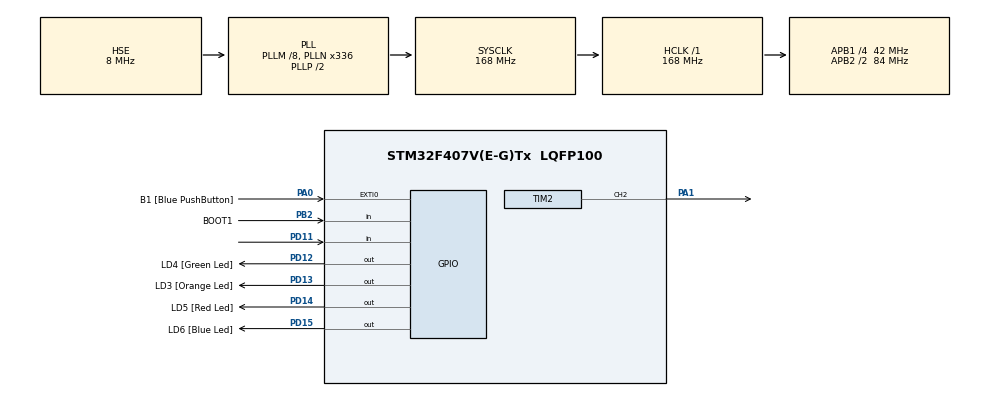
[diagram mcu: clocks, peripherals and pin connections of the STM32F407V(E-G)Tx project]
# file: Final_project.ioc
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Mcu.Family=STM32F4
Mcu.Name=STM32F407V(E-G)Tx
Mcu.Package=LQFP100
NVIC.PriorityGroup=NVIC_PRIORITYGROUP_0
PA0-WKUP.GPIO_Label=B1 [Blue PushButton]
PA0-WKUP.GPIO_ModeDefaultEXTI=GPIO_MODE_EVT_RISING
PA0-WKUP.GPIO_PuPd=GPIO_NOPULL
PA0-WKUP.Signal=GPXTI0
PA1.Signal=S_TIM2_CH2
PB2.GPIO_Label=BOOT1
PB2.GPIO_Mode=GPIO_MODE_INPUT
PB2.GPIO_PuPd=GPIO_NOPULL
PB2.Signal=GPIO_Input
PC14-OSC32_IN.GPIO_Label=PC14-OSC32_IN
PC14-OSC32_IN.Mode=LSE-External-Oscillator
PC14-OSC32_IN.Signal=RCC_OSC32_IN
PC15-OSC32_OUT.GPIO_Label=PC15-OSC32_OUT
PC15-OSC32_OUT.Mode=LSE-External-Oscillator
PC15-OSC32_OUT.Signal=RCC_OSC32_OUT
PD11.Signal=GPIO_Input
PD12.GPIO_Label=LD4 [Green Led]
PD12.GPIO_PuPd=GPIO_NOPULL
PD12.GPIO_Speed=GPIO_SPEED_FREQ_LOW
PD12.Signal=GPIO_Output
PD13.GPIO_Label=LD3 [Orange Led]
PD13.GPIO_PuPd=GPIO_NOPULL
PD13.GPIO_Speed=GPIO_SPEED_FREQ_LOW
PD13.Signal=GPIO_Output
PD14.GPIO_Label=LD5 [Red Led]
PD14.GPIO_PuPd=GPIO_NOPULL
PD14.GPIO_Speed=GPIO_SPEED_FREQ_LOW
PD14.Signal=GPIO_Output
PD15.GPIO_Label=LD6 [Blue Led]
PD15.GPIO_PuPd=GPIO_NOPULL
PD15.GPIO_Speed=GPIO_SPEED_FREQ_LOW
PD15.Signal=GPIO_Output
PH0-OSC_IN.GPIO_Label=PH0-OSC_IN
PH0-OSC_IN.Mode=HSE-External-Oscillator
PH0-OSC_IN.Signal=RCC_OSC_IN
PH1-OSC_OUT.GPIO_Label=PH1-OSC_OUT
PH1-OSC_OUT.Mode=HSE-External-Oscillator
PH1-OSC_OUT.Signal=RCC_OSC_OUT
ProjectManager.HeapSize=0x200
ProjectManager.StackSize=0x400
ProjectManager.TargetToolchain=STM32CubeIDE
RCC.48MHZClocksFreq_Value=48000000
RCC.AHBFreq_Value=168000000
RCC.APB1CLKDivider=RCC_HCLK_DIV4
RCC.APB1Freq_Value=42000000
RCC.APB1TimFreq_Value=84000000
RCC.APB2CLKDivider=RCC_HCLK_DIV2
RCC.APB2Freq_Value=84000000
RCC.APB2TimFreq_Value=168000000
RCC.CortexFreq_Value=168000000
RCC.HCLKFreq_Value=168000000
RCC.HSE_VALUE=8000000
RCC.HSI_VALUE=16000000
RCC.PLLM=8
RCC.PLLN=336
RCC.PLLQ=7
RCC.PLLSourceVirtual=RCC_PLLSOURCE_HSE
RCC.SYSCLKFreq_VALUE=168000000
RCC.SYSCLKSource=RCC_SYSCLKSOURCE_PLLCLK
RCC.VCOOutputFreq_Value=336000000
SH.S_TIM2_CH2.0=TIM2_CH2,PWM Generation2 CH2
TIM2.Channel-PWM\ Generation2\ CH2=TIM_CHANNEL_2
TIM2.Period=999
TIM2.Prescaler=71
TIM2.Pulse-PWM\ Generation2\ CH2=499
VP_TIM2_VS_ClockSourceINT.Mode=Internal
board=STM32F407G-DISC1

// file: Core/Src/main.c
/* USER CODE BEGIN Header */
/**
  ******************************************************************************
  * @file           : main.c
  * @brief          : Main program body
  ******************************************************************************
  * @attention
  *
  * Copyright (c) 2023 STMicroelectronics.
  * All rights reserved.
  *
  * This software is licensed under terms that can be found in the LICENSE file
  * in the root directory of this software component.
  * If no LICENSE file comes with this software, it is provided AS-IS.
  *
  ******************************************************************************
  */
/* USER CODE END Header */
#include "main.h"
#include "stm32f4xx_hal.h"

/* USER CODE BEGIN Includes */
#define DHT11_GPIO_PORT GPIOA
#define DHT11_GPIO_PIN GPIO_PIN_0

#define T1 15.0
#define T2 20.0
#define T3 25.0

#define PWM_PERIOD 999

#define DUTY_CYCLE_1 PWM_PERIOD*0.2 	// 20%
#define DUTY_CYCLE_2 PWM_PERIOD*0.4  	// 40%
#define DUTY_CYCLE_3 PWM_PERIOD*0.6 	// 60%
#define DUTY_CYCLE_4 PWM_PERIOD*0.8  	// 80%

/* USER CODE END Includes */

TIM_HandleTypeDef htim2;

void SystemClock_Config(void);
static void MX_GPIO_Init(void);
static void MX_TIM2_Init(void);

int main(void)
{

  /* MCU Configuration--------------------------------------------------------*/

  /* Reset of all peripherals, Initializes the Flash interface and the Systick. */
  HAL_Init();

  /* Configure the system clock */
  SystemClock_Config();

  /* Initialize all configured peripherals */
  MX_GPIO_Init();
  MX_TIM2_Init();
  /* USER CODE BEGIN 2 */
  HAL_TIM_PWM_Start(&htim2, TIM_CHANNEL_2);

  float* temperature, humidity;
  int dutyCycle;
  /* USER CODE END 2 */

  /* Infinite loop */
  /* USER CODE BEGIN WHILE */
  while (1)
  {
	  DHT11_ReadData(&humidity, &temperature);
	  //////implementation 1:///////

	  //dutyCycle = (temperature-15)*100/15;
	  //__HAL_TIM_SET_COMPARE(&htim2, TIM_CHANNEL_1, dutyCycle);

	  //////implementation 2: (easier to debug)///////

	  if(temperature < T1){ //less than 15
		  dutyCycle = 1;
	  	  __HAL_TIM_SET_COMPARE(&htim2, TIM_CHANNEL_1, DUTY_CYCLE_1);
	  }

	  if((temperature > T1) && (temperature < T2)) //between 15 and 20
	  {
		  dutyCycle = 3;
	  	  __HAL_TIM_SET_COMPARE(&htim2, TIM_CHANNEL_1, DUTY_CYCLE_2);
	  }

	  if((temperature > T2) && (temperature < T3)) //between 20 and 25
	  {
		  dutyCycle = 3;
	  	  __HAL_TIM_SET_COMPARE(&htim2, TIM_CHANNEL_1, DUTY_CYCLE_3);
	  }
	  if(temperature > T3) //greater than 25
	  {
		  dutyCycle = 4;
	  	  __HAL_TIM_SET_COMPARE(&htim2, TIM_CHANNEL_1, DUTY_CYCLE_4);
	  }

  }
}

void SystemClock_Config(void)
{
  RCC_OscInitTypeDef RCC_OscInitStruct = {0};
  RCC_ClkInitTypeDef RCC_ClkInitStruct = {0};

  /** Configure the main internal regulator output voltage
  */
  __HAL_RCC_PWR_CLK_ENABLE();
  __HAL_PWR_VOLTAGESCALING_CONFIG(PWR_REGULATOR_VOLTAGE_SCALE1);

  /** Initializes the RCC Oscillators according to the specified parameters
  * in the RCC_OscInitTypeDef structure.
  */
  RCC_OscInitStruct.OscillatorType = RCC_OSCILLATORTYPE_HSE;
  RCC_OscInitStruct.HSEState = RCC_HSE_ON;
  RCC_OscInitStruct.PLL.PLLState = RCC_PLL_ON;
  RCC_OscInitStruct.PLL.PLLSource = RCC_PLLSOURCE_HSE;
  RCC_OscInitStruct.PLL.PLLM = 8;
  RCC_OscInitStruct.PLL.PLLN = 336;
  RCC_OscInitStruct.PLL.PLLP = RCC_PLLP_DIV2;
  RCC_OscInitStruct.PLL.PLLQ = 7;
  if (HAL_RCC_OscConfig(&RCC_OscInitStruct) != HAL_OK)
  {
    Error_Handler();
  }

  /** Initializes the CPU, AHB and APB buses clocks
  */
  RCC_ClkInitStruct.ClockType = RCC_CLOCKTYPE_HCLK|RCC_CLOCKTYPE_SYSCLK
                              |RCC_CLOCKTYPE_PCLK1|RCC_CLOCKTYPE_PCLK2;
  RCC_ClkInitStruct.SYSCLKSource = RCC_SYSCLKSOURCE_PLLCLK;
  RCC_ClkInitStruct.AHBCLKDivider = RCC_SYSCLK_DIV1;
  RCC_ClkInitStruct.APB1CLKDivider = RCC_HCLK_DIV4;
  RCC_ClkInitStruct.APB2CLKDivider = RCC_HCLK_DIV2;

  if (HAL_RCC_ClockConfig(&RCC_ClkInitStruct, FLASH_LATENCY_5) != HAL_OK)
  {
    Error_Handler();
  }
}

static void MX_TIM2_Init(void)
{

  TIM_ClockConfigTypeDef sClockSourceConfig = {0};
  TIM_MasterConfigTypeDef sMasterConfig = {0};
  TIM_OC_InitTypeDef sConfigOC = {0};

  htim2.Instance = TIM2;
  htim2.Init.Prescaler = 71;
  htim2.Init.CounterMode = TIM_COUNTERMODE_UP;
  htim2.Init.Period = 999;
  htim2.Init.ClockDivision = TIM_CLOCKDIVISION_DIV1;
  htim2.Init.AutoReloadPreload = TIM_AUTORELOAD_PRELOAD_DISABLE;
  if (HAL_TIM_Base_Init(&htim2) != HAL_OK)
  {
    Error_Handler();
  }
  sClockSourceConfig.ClockSource = TIM_CLOCKSOURCE_INTERNAL;
  if (HAL_TIM_ConfigClockSource(&htim2, &sClockSourceConfig) != HAL_OK)
  {
    Error_Handler();
  }
  if (HAL_TIM_PWM_Init(&htim2) != HAL_OK)
  {
    Error_Handler();
  }
  sMasterConfig.MasterOutputTrigger = TIM_TRGO_RESET;
  sMasterConfig.MasterSlaveMode = TIM_MASTERSLAVEMODE_DISABLE;
  if (HAL_TIMEx_MasterConfigSynchronization(&htim2, &sMasterConfig) != HAL_OK)
  {
    Error_Handler();
  }
  sConfigOC.OCMode = TIM_OCMODE_PWM1;
  sConfigOC.Pulse = 499;
  sConfigOC.OCPolarity = TIM_OCPOLARITY_HIGH;
  sConfigOC.OCFastMode = TIM_OCFAST_DISABLE;
  if (HAL_TIM_PWM_ConfigChannel(&htim2, &sConfigOC, TIM_CHANNEL_2) != HAL_OK)
  {
    Error_Handler();
  }
  HAL_TIM_MspPostInit(&htim2);

}

static void MX_GPIO_Init(void)
{
  GPIO_InitTypeDef GPIO_InitStruct = {0};

  /* GPIO Ports Clock Enable */
  __HAL_RCC_GPIOC_CLK_ENABLE();
  __HAL_RCC_GPIOH_CLK_ENABLE();
  __HAL_RCC_GPIOA_CLK_ENABLE();
  __HAL_RCC_GPIOB_CLK_ENABLE();
  __HAL_RCC_GPIOD_CLK_ENABLE();

  /*Configure GPIO pin Output Level */
  HAL_GPIO_WritePin(GPIOD, LD4_Pin|LD3_Pin|LD5_Pin|LD6_Pin, GPIO_PIN_RESET);

  /*Configure GPIO pin : B1_Pin */
  GPIO_InitStruct.Pin = B1_Pin;
  GPIO_InitStruct.Mode = GPIO_MODE_EVT_RISING;
  GPIO_InitStruct.Pull = GPIO_NOPULL;
  HAL_GPIO_Init(B1_GPIO_Port, &GPIO_InitStruct);

  /*Configure GPIO pin : BOOT1_Pin */
  GPIO_InitStruct.Pin = BOOT1_Pin;
  GPIO_InitStruct.Mode = GPIO_MODE_INPUT;
  GPIO_InitStruct.Pull = GPIO_NOPULL;
  HAL_GPIO_Init(BOOT1_GPIO_Port, &GPIO_InitStruct);

  /*Configure GPIO pin : PD11 */
  GPIO_InitStruct.Pin = GPIO_PIN_11;
  GPIO_InitStruct.Mode = GPIO_MODE_INPUT;
  GPIO_InitStruct.Pull = GPIO_NOPULL;
  HAL_GPIO_Init(GPIOD, &GPIO_InitStruct);

  /*Configure GPIO pins : LD4_Pin LD3_Pin LD5_Pin LD6_Pin */
  GPIO_InitStruct.Pin = LD4_Pin|LD3_Pin|LD5_Pin|LD6_Pin;
  GPIO_InitStruct.Mode = GPIO_MODE_OUTPUT_PP;
  GPIO_InitStruct.Pull = GPIO_NOPULL;
  GPIO_InitStruct.Speed = GPIO_SPEED_FREQ_LOW;
  HAL_GPIO_Init(GPIOD, &GPIO_InitStruct);

}

/* USER CODE BEGIN 4 */
// function to read data from DHT11
void GPIO_Init(void)
{
    GPIO_InitTypeDef GPIO_InitStruct;

    // Initialize GPIO for DHT11 sensor
    __HAL_RCC_GPIOA_CLK_ENABLE();

    GPIO_InitStruct.Pin = DHT11_GPIO_PIN;
    GPIO_InitStruct.Mode = GPIO_MODE_OUTPUT_PP;
    GPIO_InitStruct.Pull = GPIO_PULLUP;
    GPIO_InitStruct.Speed = GPIO_SPEED_FREQ_LOW;
    HAL_GPIO_Init(DHT11_GPIO_PORT, &GPIO_InitStruct);
}

void DHT11_Init(void)
{
    // Set the DHT11 pin as output
    HAL_GPIO_WritePin(DHT11_GPIO_PORT, DHT11_GPIO_PIN, GPIO_PIN_SET);
}

void DHT11_Start(void)
{
    // Set the DHT11 pin as output and pull low for 18 milliseconds to initiate start signal
    HAL_GPIO_WritePin(DHT11_GPIO_PORT, DHT11_GPIO_PIN, GPIO_PIN_RESET);
    HAL_Delay(18);

    // Set the DHT11 pin as input
    HAL_GPIO_WritePin(DHT11_GPIO_PORT, DHT11_GPIO_PIN, GPIO_PIN_SET);
    HAL_GPIO_Init(DHT11_GPIO_PORT, &(GPIO_InitTypeDef){DHT11_GPIO_PIN, GPIO_MODE_INPUT, GPIO_PULLUP, GPIO_SPEED_FREQ_LOW, 0});
}

uint8_t DHT11_ReadByte(void)
{
    uint8_t data = 0;

    for (int i = 0; i < 8; i++)
    {
        // Wait for falling edge indicating the start of a data bit
        while (HAL_GPIO_ReadPin(DHT11_GPIO_PORT, DHT11_GPIO_PIN) == GPIO_PIN_SET);

        // Wait for rising edge indicating the end of a data bit
        while (HAL_GPIO_ReadPin(DHT11_GPIO_PORT, DHT11_GPIO_PIN) == GPIO_PIN_RESET);

        // Delay for about 30us to ignore fluctuations
        HAL_Delay(30);

        // If the pin is still high after the delay, set the corresponding bit
        if (HAL_GPIO_ReadPin(DHT11_GPIO_PORT, DHT11_GPIO_PIN) == GPIO_PIN_SET)
        {
            data |= (1 << (7 - i));
        }
    }

    return data;
}

void DHT11_ReadData(uint8_t* humidity, uint8_t* temperature)
{
    // Buffer to store received data bytes
    uint8_t data[5] = {0};

    // Read 5 bytes of data from the DHT11 sensor
    for (int i = 0; i < 5; i++)
    {
        data[i] = DHT11_ReadByte();
    }

    // Verify the checksum
    if ((data[0] + data[1] + data[2] + data[3]) == data[4])
    {
        *humidity = data[0];
        *temperature = data[2];
    }
    else
    {
        // Error handling if checksum verification fails
        // You can implement appropriate error handling here
    }
}/*
void DHT11_ReadData(float *temperature, float *humidity)
{
    uint8_t i;
    uint8_t data[5];

    // send start signal
    HAL_GPIO_WritePin(DHT11_GPIO_PORT, DHT11_GPIO_PIN, GPIO_PIN_RESET);
    HAL_Delay(18);
    HAL_GPIO_WritePin(DHT11_GPIO_PORT, DHT11_GPIO_PIN, GPIO_PIN_SET);

    // wait for response
    HAL_Delay(40);

    // initialize data array
    memset(data, 0, sizeof(data));

    // read 40 bits of data
    for(i=0; i<40; i++)
    {
        // wait for low pulse
        while(!HAL_GPIO_ReadPin(DHT11_GPIO_PORT, DHT11_GPIO_PIN));

        // wait for high pulse
        uint32_t t = 0;
        while(HAL_GPIO_ReadPin(DHT11_GPIO_PORT, DHT11_GPIO_PIN))
        {
            t++;
            HAL_Delay(1);
        }

        // store bit value in data array
        if(t > 30)
            data[i/8] |= (1 << (7 - (i % 8)));
    }

    // verify checksum
    if(data[4] == (data[0] + data[1] + data[2] + data[3]))
    {
        // convert temperature and humidity values
        *humidity = (data[0] << 8 | data[1]) / 10.0;
        *temperature = ((data[2] & 0x7F) << 8 | data[3]) / 10.0;
        if (data[2] & 0x80) *temperature *= -1;
    }
}*/
int readTemp(){
	return HAL_GPIO_ReadPin(GPIOD, GPIO_PIN_11);
}
/* USER CODE END 4 */

void Error_Handler(void)
{
  __disable_irq();
  while (1)
  {
  }
}
